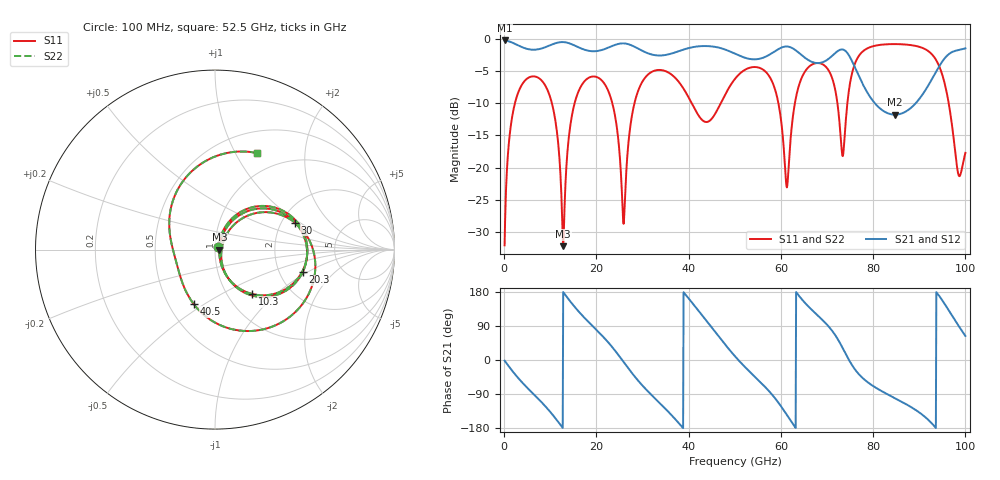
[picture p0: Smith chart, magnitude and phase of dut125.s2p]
! Touchstone file exported from HFSS 2026.1.0
!  File:  C:/ffzhzh/LocalFiles/Ansys_Project_Files/temp_train_TSV_RDL_125_1783637934_29156.aedt
!  Generated:  07:26:22 AM Jul 10, 2026
!  Design:  TSV_RDL
!  Project:  temp_train_TSV_RDL_125_1783637934_29156
! Variables:
!  h_bsmrdl = 4.05um
!  h_ox = 20um
!  h_rdl = 5um
!  h_sub = 76.79um
!  h_tmrdl = 4.34um
!  h_tsv = 76.79um
!  h_via = 3um
!  l_bsmrdl = 694.83um
!  l_sub = 4777.5um
!  l_tmrdl = 540.44um
!  m_sub = 200um
!  pitch = 49.42um
!  r_tsv = 11.25um
!  s_tmrdl = 10um
!  w_bsmrdl = 17.41um
!  w_sub = 500um
!  w_tmrdl = 26.34um
!  x_tsv_center1 = 553.61um
!  x_tsv_center2 = 1265.85um
!  x_tsv_center3 = 1832.63um
!  x_tsv_center4 = 2544.87um
!  x_tsv_center5 = 3111.65um
!  x_tsv_center6 = 3823.89um
# GHz S MA R 50.000000
! Terminal data exported
! Port[1] = TM_RDL1_1_T1
! Port[2] = TM_RDL5_1_T1
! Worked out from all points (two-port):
!   1000 points, 100 MHz to 100 GHz, reference 50 ohm
!   highest |S21| = -0.16 dB at 100 MHz (marker M1); lowest = -11.7 dB at 84.7 GHz (marker M2)
!   |S21| within 3 dB of the highest: start of sweep to 65.81 GHz; 70.09 GHz to 75.26 GHz (5.174 GHz wide, 7.12 % of centre)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
!   lowest |S11| = -32.3 dB at 12.8 GHz (marker M3), VSWR 1.05, Z = 52.5 - j0.102 ohm
!   |S11| at or under -10 dB: 10.36 GHz to 15.26 GHz (4.898 GHz wide, 38.2 % of centre); 23.46 GHz to 28.24 GHz (4.776 GHz wide, 18.5 % of centre); 40.69 GHz to 46.93 GHz (6.245 GHz wide, 14.3 % of centre)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
!   |S22| runs from -32.4 to -0.7 dB; largest |S21 - S12| = 1.1e-13
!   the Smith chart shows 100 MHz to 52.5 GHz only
!   S11 on the Smith chart (normalised r, x): 100 MHz: 1.04, +0.03; 10.3 GHz: 1.30, -0.72; 20.3 GHz: 2.69, -0.91; 30 GHz: 2.36, +0.91; 40.5 GHz: 0.67, -0.45; 52.5 GHz: 0.75, +1.23
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0.1  0.02469 40.6  0.9816 -1.7  0.9816 -1.7  0.02469 40.6
! Gamma 0 0 0 0
! Port Impedance 50 0 50 0
3.1  0.3893 38.1  0.8963 -48.4  0.8963 -48.4  0.3893 38.1
10.3  0.3229 -50.0  0.9108 -141.4  0.9108 -141.4  0.3229 -50.0
12.8  0.02432 -2.3  0.9531 179.2  0.9531 179.2  0.02412 -2.4
16.8  0.4394 26.2  0.8472 119.3  0.8472 119.3  0.4394 26.2
20.3  0.5045 -14.5  0.8131 76.0  0.8131 76.0  0.5045 -14.5
25.9  0.03635 -4.0  0.9313 -5.2  0.9313 -5.2  0.03647 -4.1
30  0.47 18.7  0.8135 -67.7  0.8135 -67.7  0.47 18.6
33.4  0.5774 -20.7  0.7492 -109.9  0.7492 -109.9  0.5774 -20.8
40.5  0.3257 -111.3  0.8644 155.0  0.8644 155.0  0.3256 -111.4
45  0.2402 175.1  0.882 85.6  0.882 85.6  0.2402 175.1
50.1  0.4948 96.4  0.7719 9.1  0.7719 9.1  0.4948 96.5
52.5  0.5867 66.4  0.7141 -22.0  0.7141 -22.0  0.5866 66.4
59.4  0.3254 -12.2  0.8382 -111.6  0.8382 -111.6  0.3253 -12.3
61.3  0.06995 35.2  0.8806 -145.1  0.8806 -145.1  0.06976 35.2
66.7  0.6352 40.1  0.6684 132.4  0.6684 132.4  0.6353 40.1
71.6  0.4323 -11.1  0.7722 68.8  0.7722 68.8  0.4321 -11.4
74.1  0.2395 71.8  0.8068 15.0  0.8068 15.0  0.2383 72.2
83.4  0.918 -3.4  0.2635 -92.3  0.2635 -92.3  0.9179 -3.4
84.7  0.9196 -10.8  0.2587 -100.6  0.2587 -100.6  0.9195 -10.8
95.2  0.499 -102.7  0.6889 153.7  0.6889 153.7  0.4985 -102.9
100  0.1302 -37.6  0.852 63.4  0.852 63.4  0.1298 -37.2
